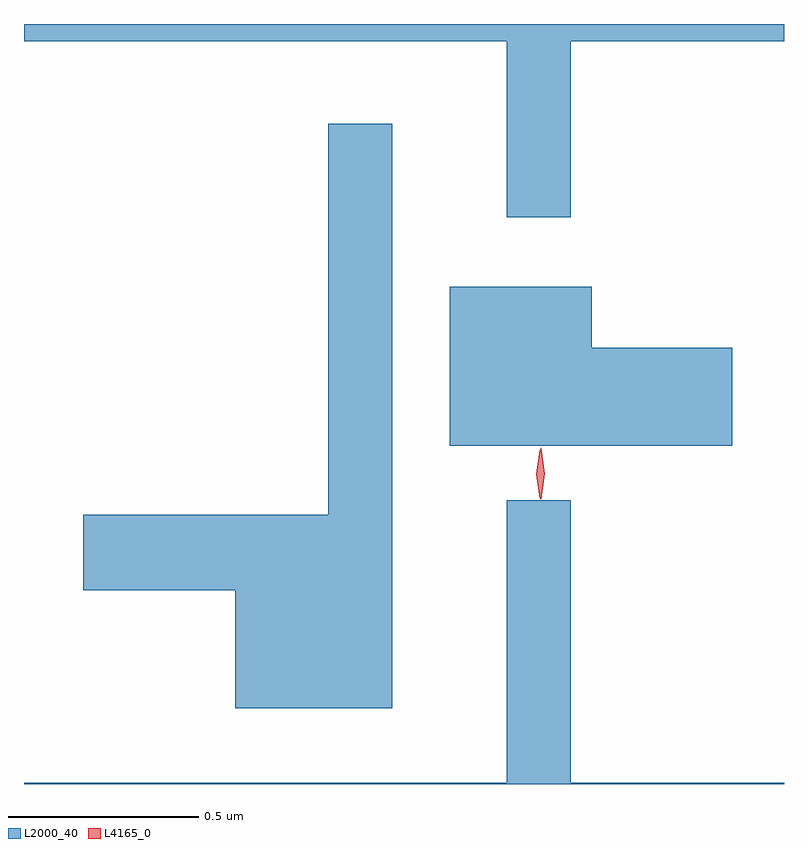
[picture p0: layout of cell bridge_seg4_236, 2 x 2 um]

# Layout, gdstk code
import gdstk
lib = gdstk.Library(unit=1e-6, precision=1e-09)
def P(c, l, *ps):  # polygons
    for p in ps: c.add(gdstk.Polygon(p, *l))
L2000_40 = (2000, 40)
L4165_0 = (4165, 0)

bridge_seg4_236 = lib.new_cell('bridge_seg4_236')
P(bridge_seg4_236, L2000_40, [(591.729,1383.536),(592.29,1383.536),(592.29,1383.581),(590.29,1383.581),(590.29,1383.536),(591.561,1383.536),(591.561,1383.073),(591.729,1383.073)],
  [(591.259,1383.318),(591.091,1383.318),(591.091,1382.289),(590.446,1382.289),(590.446,1382.091),(590.846,1382.091),(590.846,1381.781),(591.259,1381.781)],
  [(592.154,1382.729),(591.784,1382.729),(591.784,1382.889),(591.411,1382.889),(591.411,1382.471),(592.154,1382.471)],
  [(592.29,1381.584),(591.729,1381.584),(591.729,1382.328),(591.561,1382.328),(591.561,1381.584),(590.29,1381.584),(590.29,1381.581),(592.29,1381.581)])
P(bridge_seg4_236, L4165_0, [(591.65,1382.33),(591.65,1382.33),(591.64,1382.398),(591.65,1382.465),(591.65,1382.466),(591.651,1382.465),(591.66,1382.398),(591.651,1382.33)],
  [(591.647,1382.333),(591.638,1382.396),(591.647,1382.459),(591.648,1382.46),(591.648,1382.459),(591.658,1382.396),(591.648,1382.333),(591.648,1382.333)])

lib.write_gds('bridge_seg4_236.gds')
